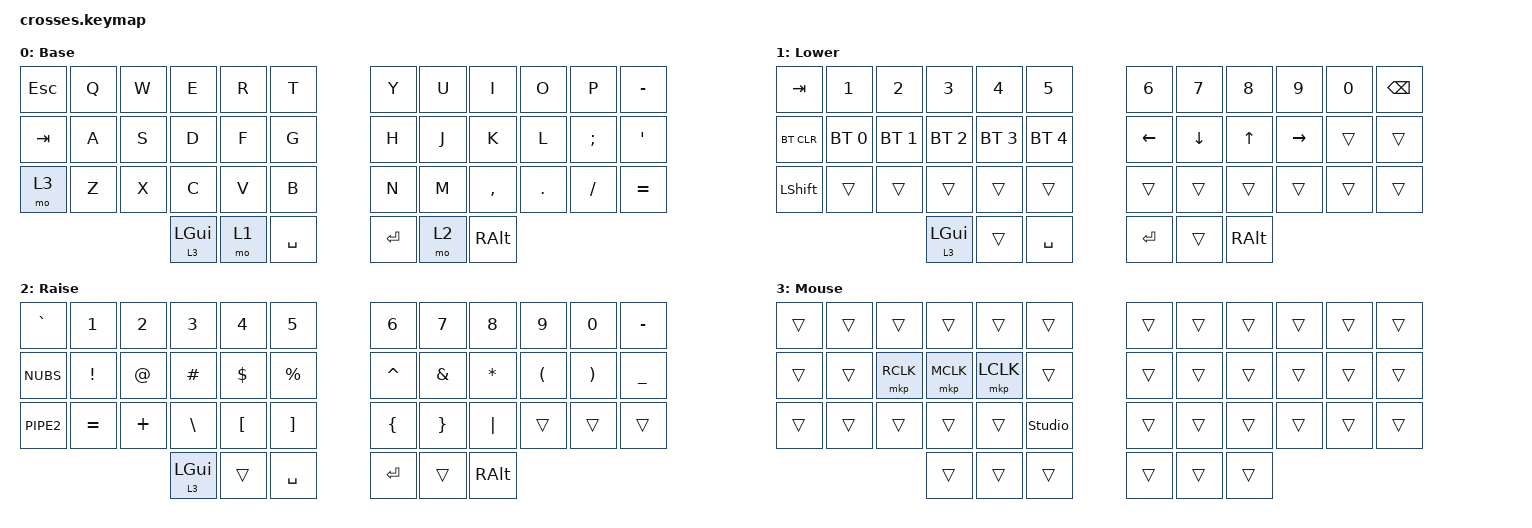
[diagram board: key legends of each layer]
#include <behaviors.dtsi>
#include <dt-bindings/zmk/bt.h>
#include <dt-bindings/zmk/keys.h>
#include <dt-bindings/zmk/pointing.h>

/ {
    chosen { zmk,physical-layout = &gggw_crosses_42_layout; };

    keymap {
        compatible = "zmk,keymap";
        default_layer {
            display-name = "Base";
            bindings = <
                &kp ESC   &kp Q &kp W &kp E &kp R &kp T   &kp Y &kp U  &kp I     &kp O   &kp P    &kp MINUS
                &kp TAB   &kp A &kp S &kp D &kp F &kp G   &kp H &kp J  &kp K     &kp L   &kp SEMI &kp SQT
                &mo 3     &kp Z &kp X &kp C &kp V &kp B   &kp N &kp M  &kp COMMA &kp DOT &kp FSLH &kp EQUAL
                            &lt 3 LGUI &mo 1 &kp SPACE   &kp RET &mo 2 &kp RALT
            >;
        };

        lower_layer {
            display-name = "Lower";
            bindings = <
                &kp TAB    &kp N1       &kp N2       &kp N3       &kp N4       &kp N5         &kp N6   &kp N7   &kp N8 &kp N9    &kp N0 &kp BSPC
                &bt BT_CLR &bt BT_SEL 0 &bt BT_SEL 1 &bt BT_SEL 2 &bt BT_SEL 3 &bt BT_SEL 4   &kp LEFT &kp DOWN &kp UP &kp RIGHT &trans &trans
                &kp LSHFT  &trans       &trans       &trans       &trans       &trans         &trans   &trans   &trans &trans    &trans &trans
                                            &lt 3 LGUI     &trans       &kp SPACE      &kp RET  &trans   &kp RALT

            >;
        };

        raise_layer {
            display-name = "Raise";
            bindings = <
                &kp GRAVE &kp N1   &kp N2 &kp N3   &kp N4   &kp N5      &kp N6    &kp N7    &kp N8          &kp N9   &kp N0   &kp MINUS
                &kp NUBS  &kp EXCL &kp AT &kp HASH &kp DLLR &kp PRCNT   &kp CARET &kp AMPS  &kp STAR        &kp LPAR &kp RPAR &kp UNDER
                &kp PIPE2 &kp EQUAL &kp PLUS &kp BSLH &kp LBKT &kp RBKT  &kp LBRC  &kp RBRC  &kp PIPE        &trans   &trans   &trans
                                        &lt 3 LGUI &trans   &kp SPACE   &kp RET   &trans    &kp RALT
            >;
        };

        mouse_layer {
            display-name = "Mouse";
            bindings = <
                &trans &trans  &trans     &trans     &trans     &trans  &trans  &trans  &trans  &trans  &trans &trans
                &trans &trans  &mkp RCLK  &mkp MCLK  &mkp LCLK  &trans  &trans  &trans  &trans  &trans  &trans &trans
                &trans &trans  &trans     &trans     &trans     &studio_unlock  &trans  &trans  &trans  &trans  &trans &trans
                                &trans     &trans     &trans  &trans  &trans  &trans
            >;
        };
    };
};
